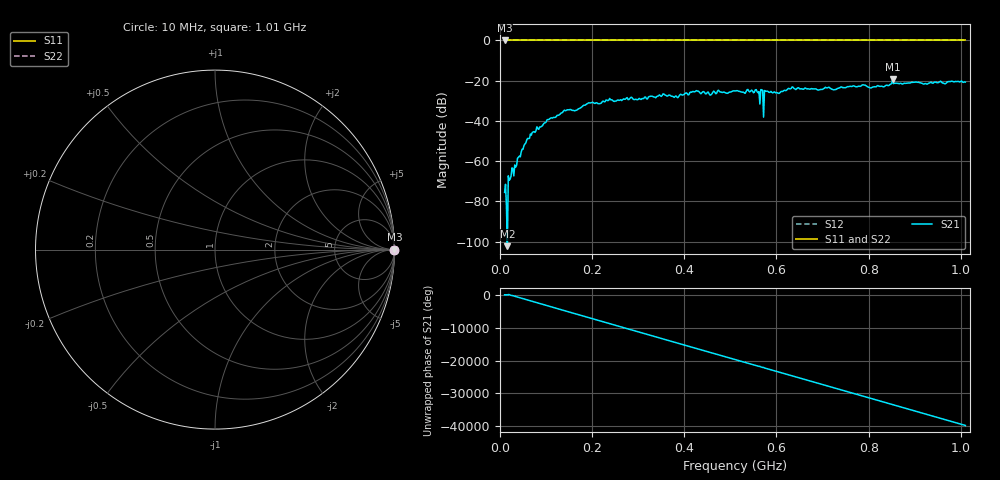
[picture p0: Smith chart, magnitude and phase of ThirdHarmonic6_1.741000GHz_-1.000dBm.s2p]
! 8/16/2025 8:59:28 PM
! C:\ANRITSUVNA\TEMP\TEMP.S2P
! CHANNEL.1
! TR.MEASUREMENT
! RAW.DATA
! RF.CORRECTION.OFF
! AVERAGING.OFF
! IF.BANDWIDTH: 5KHZ
! SWEEPTYPE:  FREQ.SWEEP(Linear)
! Reference Plane Port Info
! PORT:  PORT1  PORT2
! DISTANCE:  0  m  0  m
! TIME:  0  s  0  s
! PHASE.OFFSET:  0  deg.  0  deg.
! LOSS:  0  dB  0  dB
! REF.LOSS:  0  dB  0  dB
! REF.FREQ:  0  Hz  0  Hz
! Power Info
! POWER:  -20  dBm  -20  dBm
! EFF.POWER:  -20  dBm  -20  dBm
! SOURCE.ATTEN:  0  dB  0  dB
! TEST.ATTEN:  0  dB  0  dB
# GHZ S RI R 50.0
! FREQ.GHZ  S11RE  S11IM  S21RE  S21IM  S12RE  S12IM  S22RE  S22IM
!; PortSelection: Port_12
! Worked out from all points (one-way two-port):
!   501 points, 10 MHz to 1.01 GHz, reference 50 ohm
!   highest |S21| = -19.08 dB at 852 MHz (marker M1); lowest = -102.2 dB at 16 MHz (marker M2)
!   lowest |S11| = 0.0 dB at 10 MHz (marker M3)
!   |S11| at or under -10 dB: nowhere
!   |S22| runs from 0.0 to 0.0 dB; largest |S21 - S12| = 1.1
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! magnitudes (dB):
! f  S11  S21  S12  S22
! 10 MHz  0.0  -75.5  0.0  0.0
! 12 MHz  0.0  -71.5  0.0  0.0
! 16 MHz  0.0  -102.2  0.0  0.0
! 18 MHz  0.0  -67.3  0.0  0.0
! 22 MHz  0.0  -68.9  0.0  0.0
! 56 MHz  0.0  -51.0  0.0  0.0
! 70 MHz  0.0  -45.7  0.0  0.0
! 106 MHz  0.0  -39.3  0.0  0.0
! 142 MHz  0.0  -34.9  0.0  0.0
! 178 MHz  0.0  -32.9  0.0  0.0
! 234 MHz  0.0  -29.9  0.0  0.0
! 344 MHz  0.0  -27.5  0.0  0.0
! 510 MHz  0.0  -25.1  0.0  0.0
! 558 MHz  0.0  -25.5  0.0  0.0
! 566 MHz  0.0  -24.4  0.0  0.0
! 568 MHz  0.0  -24.5  0.0  0.0
! 576 MHz  0.0  -25.1  0.0  0.0
! 578 MHz  0.0  -25.2  0.0  0.0
! 678 MHz  0.0  -24.0  0.0  0.0
! 844 MHz  0.0  -22.3  0.0  0.0
! 852 MHz  0.0  -19.1  0.0  0.0
! 1.01 GHz  0.0  -20.7  0.0  0.0
